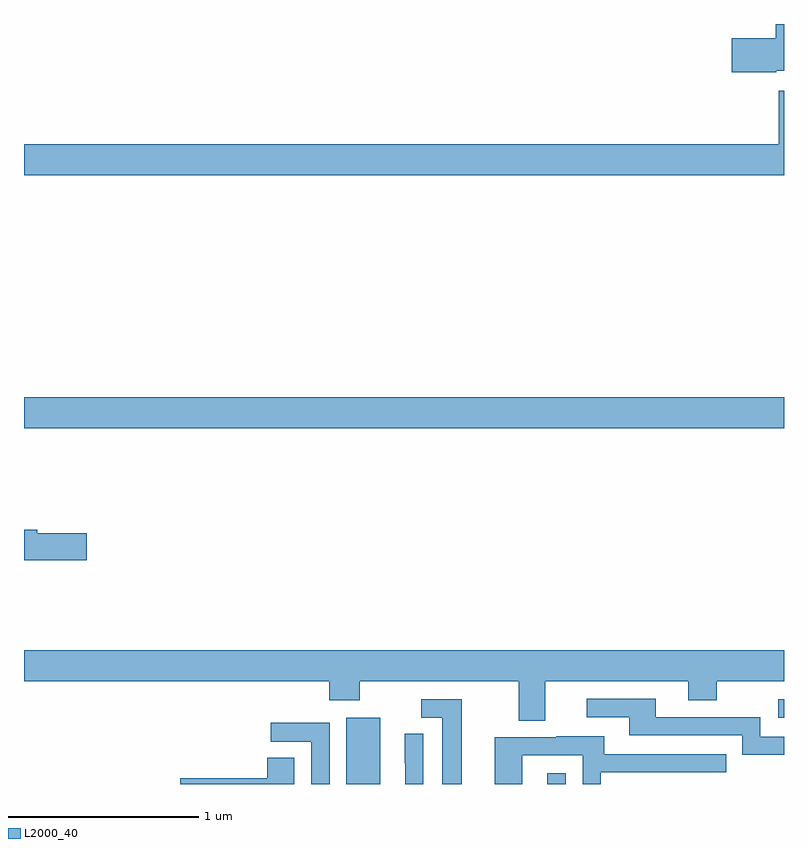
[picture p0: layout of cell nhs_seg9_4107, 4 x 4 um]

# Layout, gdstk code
import gdstk
lib = gdstk.Library(unit=1e-6, precision=1e-09)
def R(c, l, rs):  # rectangles x0, y0, x1, y1
    for r in rs: c.add(gdstk.rectangle(r[:2], r[2:], *l))
def P(c, l, *ps):  # polygons
    for p in ps: c.add(gdstk.Polygon(p, *l))
L2000_40 = (2000, 40)

nhs_seg9_4107 = lib.new_cell('nhs_seg9_4107')
R(nhs_seg9_4107, L2000_40, [(346.697,1242.5,346.876,1242.85), (347.753,1242.5,347.85,1242.556), (348.969,1242.849,349,1242.945), (345,1244.372,349,1244.536)])
P(nhs_seg9_4107, L2000_40, [(348.96,1246.253),(349,1246.253),(349,1246.5),(348.956,1246.5),(348.956,1246.424),(348.726,1246.424),(348.726,1246.246),(348.96,1246.246)],
  [(349,1246.15),(348.972,1246.15),(348.972,1245.868),(345,1245.868),(345,1245.704),(349,1245.704)],
  [(345.331,1243.82),(345.07,1243.82),(345.07,1243.837),(345,1243.837),(345,1243.678),(345.331,1243.678)],
  [(347.743,1243.04),(348.497,1243.04),(348.497,1242.941),(348.645,1242.941),(348.645,1243.04),(349,1243.04),(349,1243.204),(345,1243.204),(345,1243.04),(346.607,1243.04),(346.607,1242.941),(346.767,1242.941),(346.767,1243.04),(347.603,1243.04),(347.603,1242.832),(347.743,1242.832)],
  [(349,1242.75),(348.876,1242.75),(348.876,1242.852),(348.325,1242.852),(348.325,1242.948),(347.961,1242.948),(347.961,1242.852),(348.185,1242.852),(348.185,1242.756),(348.78,1242.756),(348.78,1242.653),(349,1242.653)],
  [(347.305,1242.945),(347.091,1242.945),(347.091,1242.849),(347.201,1242.849),(347.201,1242.5),(347.305,1242.5)],
  [(346.608,1242.822),(346.299,1242.822),(346.299,1242.723),(346.512,1242.723),(346.512,1242.5),(346.608,1242.5)],
  [(347.1,1242.764),(347.004,1242.764),(347.004,1242.61),(347.006,1242.61),(347.006,1242.5),(347.1,1242.5)],
  [(347.622,1242.651),(347.94,1242.651),(347.94,1242.5),(348.036,1242.5),(348.036,1242.561),(348.695,1242.561),(348.695,1242.657),(348.055,1242.657),(348.055,1242.751),(347.801,1242.751),(347.801,1242.747),(347.477,1242.747),(347.477,1242.5),(347.622,1242.5)],
  [(346.423,1242.638),(346.28,1242.638),(346.28,1242.53),(345.822,1242.53),(345.822,1242.5),(346.423,1242.5)])

lib.write_gds('nhs_seg9_4107.gds')
